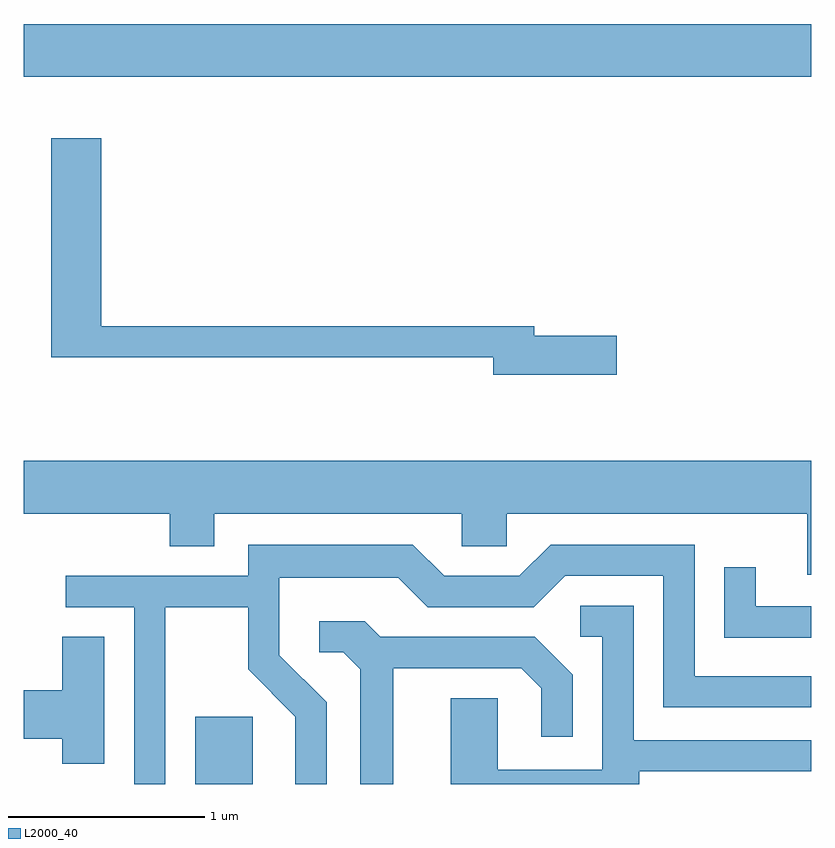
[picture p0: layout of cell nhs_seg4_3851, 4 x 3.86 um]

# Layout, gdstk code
import gdstk
lib = gdstk.Library(unit=1e-6, precision=1e-09)
def R(c, l, rs):  # rectangles x0, y0, x1, y1
    for r in rs: c.add(gdstk.rectangle(r[:2], r[2:], *l))
def P(c, l, *ps):  # polygons
    for p in ps: c.add(gdstk.Polygon(p, *l))
L2000_40 = (2000, 40)

nhs_seg4_3851 = lib.new_cell('nhs_seg4_3851')
R(nhs_seg4_3851, L2000_40, [(298.481,1339.982,298.774,1340.324), (297.611,1343.576,301.611,1343.844)])
P(nhs_seg4_3851, L2000_40, [(300.624,1342.259),(300.204,1342.259),(300.204,1342.309),(298.004,1342.309),(298.004,1343.264),(297.751,1343.264),(297.751,1342.151),(299.996,1342.151),(299.996,1342.061),(300.624,1342.061)],
  [(301.611,1341.624),(297.611,1341.624),(297.611,1341.356),(298.351,1341.356),(298.351,1341.191),(298.579,1341.191),(298.579,1341.356),(299.836,1341.356),(299.836,1341.191),(300.064,1341.191),(300.064,1341.356),(301.591,1341.356),(301.591,1341.046),(301.611,1341.046)],
  [(298.329,1340.881),(298.751,1340.881),(298.751,1340.564),(298.991,1340.324),(298.991,1339.982),(299.149,1339.982),(299.149,1340.397),(298.909,1340.637),(298.909,1341.031),(299.514,1341.031),(299.664,1340.881),(300.202,1340.881),(300.362,1341.041),(300.861,1341.041),(300.861,1340.371),(301.611,1340.371),(301.611,1340.529),(301.019,1340.529),(301.019,1341.199),(300.289,1341.199),(300.129,1341.039),(299.747,1341.039),(299.587,1341.199),(298.751,1341.199),(298.751,1341.039),(297.823,1341.039),(297.823,1340.881),(298.171,1340.881),(298.171,1339.982),(298.329,1339.982)],
  [(301.611,1340.884),(301.329,1340.884),(301.329,1341.083),(301.171,1341.083),(301.171,1340.726),(301.611,1340.726)],
  [(300.739,1340.046),(301.611,1340.046),(301.611,1340.204),(300.709,1340.204),(300.709,1340.889),(300.438,1340.889),(300.438,1340.731),(300.551,1340.731),(300.551,1340.054),(300.019,1340.054),(300.019,1340.419),(299.781,1340.419),(299.781,1339.982),(300.739,1339.982)],
  [(299.489,1340.571),(300.139,1340.571),(300.241,1340.469),(300.241,1340.223),(300.399,1340.223),(300.399,1340.537),(300.207,1340.729),(299.422,1340.729),(299.342,1340.809),(299.113,1340.809),(299.113,1340.651),(299.234,1340.651),(299.321,1340.564),(299.321,1339.982),(299.489,1339.982)],
  [(298.019,1340.729),(297.806,1340.729),(297.806,1340.459),(297.611,1340.459),(297.611,1340.211),(297.806,1340.211),(297.806,1340.086),(298.019,1340.086)])

lib.write_gds('nhs_seg4_3851.gds')
